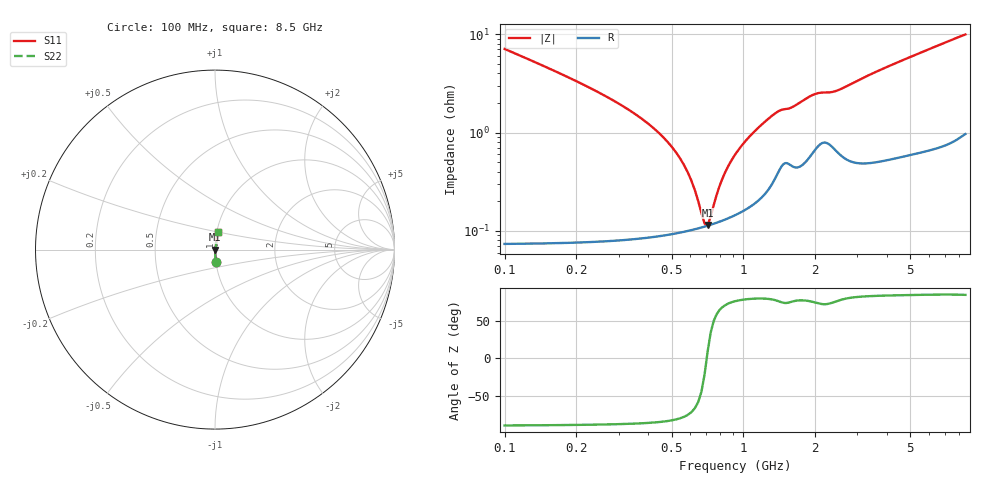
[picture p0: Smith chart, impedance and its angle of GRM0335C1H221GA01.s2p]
!Murata Part Number: GRM0335C1H221GA01
!These Parameters are Measured in Series Mode Connection
!Data Generated on Mar 30, 2021
!  o--ll--o
!Port1  Port2
!  o------o
!Operation Temp=25[degC], DC Bias Voltage=0[V]
!Freq. Start=100[MHz] Stop=9[GHz] 401[Steps]
# Hz S RI R 50
!Freq.(Hz) S11(Real) S11(Imag) S21(Real) S21(Imag) S12(Real) S12(Imag) S22(Real) S22(Imag)
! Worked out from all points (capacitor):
!   401 points, 100 MHz to 8.5 GHz, reference 50 ohm
!   read as one part in series: C = 220 pF near 142 MHz
!   lowest |Z| = 115 mohm at 709 MHz (marker M1)
!   series resonance near 702.2 MHz, so ESL is about 230 pH
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1e8  0.00572 -0.0704  0.9943 0.0704  0.9943 0.0704  0.00572 -0.0704
2.26e8  0.00159 -0.0286  0.9984 0.0286  0.9984 0.0286  0.00159 -0.0286
4.99e8  0.000974 -0.00718  0.999 0.00718  0.999 0.00718  0.000974 -0.00718
5.83e8  0.00101 -0.00386  0.999 0.00386  0.999 0.00386  0.00101 -0.00386
6.67e8  0.00108 -0.00106  0.9989 0.00106  0.9989 0.00106  0.00108 -0.00106
6.88e8  0.0011 -0.000422  0.9989 0.000422  0.9989 0.000422  0.0011 -0.000422
7.09e8  0.00113 0.0002  0.9989 -0.0002  0.9989 -0.0002  0.00113 0.0002
7.3e8  0.00115 0.000805  0.9988 -0.000805  0.9988 -0.000805  0.00115 0.000805
8.14e8  0.00128 0.00308  0.9987 -0.00308  0.9987 -0.00308  0.00128 0.00308
8.56e8  0.00135 0.00415  0.9987 -0.00415  0.9987 -0.00415  0.00135 0.00415
9.82e8  0.00161 0.00715  0.9984 -0.00715  0.9984 -0.00715  0.00161 0.00715
1.108e9  0.00197 0.00996  0.998 -0.00996  0.998 -0.00996  0.00197 0.00996
1.255e9  0.00268 0.0131  0.9973 -0.0131  0.9973 -0.0131  0.00268 0.0131
1.381e9  0.00393 0.0156  0.9961 -0.0156  0.9961 -0.0156  0.00393 0.0156
1.507e9  0.00515 0.0165  0.9949 -0.0165  0.9949 -0.0165  0.00515 0.0165
1.99e9  0.00712 0.0234  0.9929 -0.0234  0.9929 -0.0234  0.00712 0.0234
2.41e9  0.00732 0.025  0.9927 -0.025  0.9927 -0.025  0.00732 0.025
2.914e9  0.00594 0.0318  0.9941 -0.0318  0.9941 -0.0318  0.00594 0.0318
4.3e9  0.00786 0.0494  0.9921 -0.0494  0.9921 -0.0494  0.00786 0.0494
5.707e9  0.0107 0.0657  0.9893 -0.0657  0.9893 -0.0657  0.0107 0.0657
7.114e9  0.0142 0.0817  0.9858 -0.0817  0.9858 -0.0817  0.0142 0.0817
8.5e9  0.019 0.0962  0.981 -0.0962  0.981 -0.0962  0.019 0.0962
